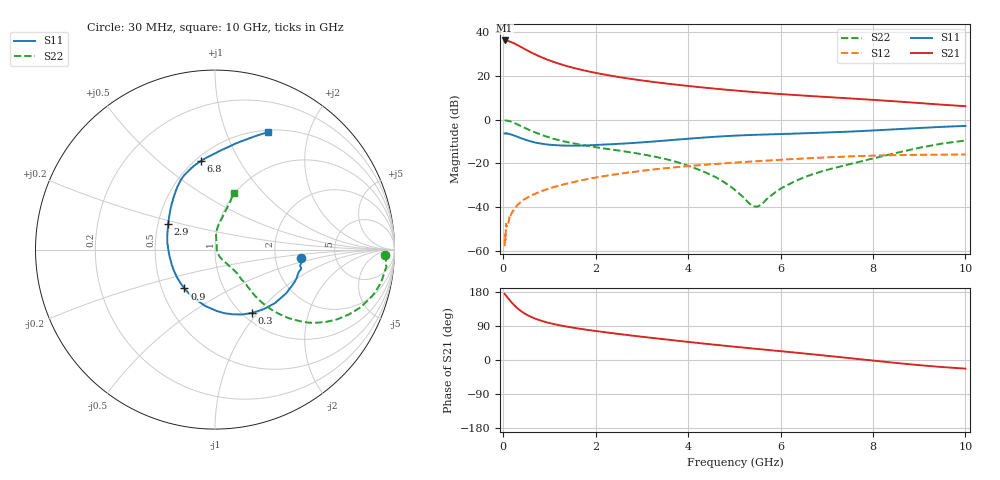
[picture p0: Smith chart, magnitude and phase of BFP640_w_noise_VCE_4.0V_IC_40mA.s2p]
! Infineon Technologies  Discrete & RF Semiconductors
! BFP640
! VCE =  4.0 V,  IC =  40 mA
! Common Emitter S-Parameters:  Apr 2013
# GHz  S  MA  R  50
!  f  S11  S21  S12  S22
! GHz  MAG  ANG  MAG  ANG  MAG  ANG  MAG  ANG
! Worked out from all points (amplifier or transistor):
!   99 points, 30 MHz to 10 GHz, reference 50 ohm
!   highest |S21| = 36.1 dB at 30 MHz (marker M1)
!   |S21| within 3 dB of that: start of sweep to 386 MHz
!   unconditionally stable (mu >= 1): 1.889 GHz to end of sweep
!   at 350 MHz: K = 0.46, MSG = 35.8 dB, |S12| = -38.1 dB
!   at 3.5 GHz: K = 1.06, MAG = 17.9 dB, |S12| = -22.2 dB
!   at 10 GHz: K = 1.06, MAG = 9.5 dB, |S12| = -15.9 dB
!   lowest NFmin = 1.25 dB at 450 MHz
!   S11 on the Smith chart (normalised r, x): 30 MHz: 2.83, -0.35; 300 MHz: 1.11, -0.94; 900 MHz: 0.65, -0.31; 2.9 GHz: 0.57, +0.18; 6.8 GHz: 0.53, +0.70; 10 GHz: 0.52, +1.42
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0.03  0.484 -5.6  63.97 174.4  0.0013 78.8  0.9481 -1.7
0.08  0.4816 -17.0  62.88 166.9  0.0042 73.5  0.9499 -8.4
0.15  0.4641 -32.1  59.96 156.4  0.0062 72.7  0.912 -16.6
0.2  0.4476 -41.8  57.09 149.5  0.008 71.4  0.8731 -21.6
0.25  0.4284 -50.9  54.04 143.1  0.0092 73.0  0.8292 -25.8
0.3  0.409 -59.6  50.73 137.5  0.0111 70.4  0.7841 -29.7
0.4  0.373 -75.0  44.46 127.7  0.0139 67.4  0.698 -35.7
0.45  0.358 -81.7  41.56 123.7  0.0152 67.5  0.6612 -38.0
0.5  0.3425 -88.2  38.92 120.1  0.0161 66.2  0.6235 -39.9
0.6  0.3183 -100.0  34.28 113.8  0.0187 65.4  0.56 -43.0
0.7  0.2985 -110.5  30.44 108.7  0.0205 65.2  0.5064 -45.1
0.9  0.2754 -128.2  24.64 100.8  0.0249 64.0  0.4232 -47.7
1.2  0.2589 -149.1  18.96 92.1  0.031 62.7  0.3411 -49.1
1.7  0.2567 -173.9  13.64 81.7  0.0414 60.3  0.265 -48.3
2.2  0.2706 169.2  10.63 73.3  0.0517 57.1  0.2185 -48.3
2.9  0.298 151.1  8.105 62.8  0.0658 51.9  0.1697 -47.0
3.4  0.3269 140.3  6.92 55.9  0.0758 47.6  0.1341 -48.6
5.1  0.4355 115.3  4.543 33.9  0.1061 32.8  0.0208 -50.5
6.7  0.4966 100.0  3.432 14.9  0.1331 18.6  0.057 82.6
6.8  0.5008 98.8  3.377 13.7  0.1348 17.6  0.0614 83.4
8.5  0.6042 78.7  2.607 -7.8  0.1553 0.5  0.1735 78.1
10  0.7192 65.6  2.025 -22.8  0.1602 -11.5  0.3335 71.8
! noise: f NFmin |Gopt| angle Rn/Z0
0.45  1.25  0.25  -170  0.05
0.9  1.25  0.28  -159  0.07
1.5  1.26  0.31  -145  0.09
1.9  1.29  0.32  222  0.12
2.4  1.34  0.33  -124  0.14
3.5  1.46  0.38  -107  0.17
5.5  1.67  0.42  -91  0.26
10  2.15  0.63  -49  0.74
